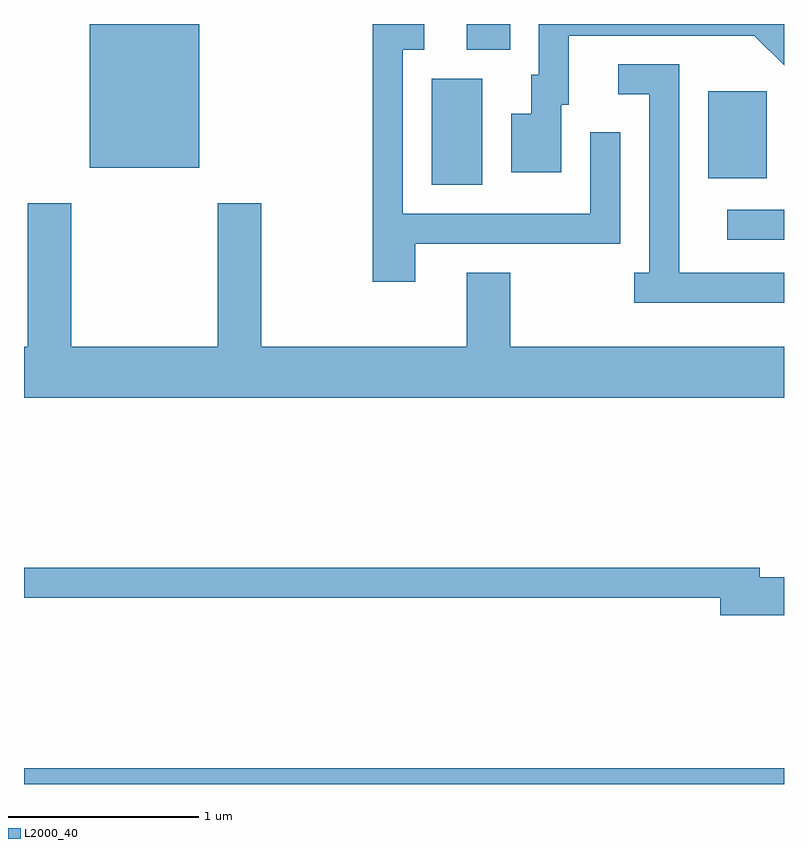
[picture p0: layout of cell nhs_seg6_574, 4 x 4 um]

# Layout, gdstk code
import gdstk
lib = gdstk.Library(unit=1e-6, precision=1e-09)
def R(c, l, rs):  # rectangles x0, y0, x1, y1
    for r in rs: c.add(gdstk.rectangle(r[:2], r[2:], *l))
def P(c, l, *ps):  # polygons
    for p in ps: c.add(gdstk.Polygon(p, *l))
L2000_40 = (2000, 40)

nhs_seg6_574 = lib.new_cell('nhs_seg6_574')
R(nhs_seg6_574, L2000_40, [(201.611,1610.162,205.611,1610.244), (205.313,1613.026,205.611,1613.184), (203.756,1613.316,204.024,1613.874), (205.211,1613.351,205.519,1613.809), (201.956,1613.406,202.534,1614.162), (203.941,1614.026,204.169,1614.162)])
P(nhs_seg6_574, L2000_40, [(203.669,1613.006),(204.749,1613.006),(204.749,1613.593),(204.591,1613.593),(204.591,1613.164),(203.604,1613.164),(203.604,1614.026),(203.718,1614.026),(203.718,1614.162),(203.446,1614.162),(203.446,1612.806),(203.669,1612.806)],
  [(204.439,1613.736),(204.479,1613.736),(204.479,1614.101),(205.454,1614.101),(205.611,1613.944),(205.611,1614.162),(204.321,1614.162),(204.321,1613.894),(204.281,1613.894),(204.281,1613.689),(204.176,1613.689),(204.176,1613.381),(204.439,1613.381)],
  [(205.611,1612.854),(205.059,1612.854),(205.059,1613.949),(204.738,1613.949),(204.738,1613.791),(204.901,1613.791),(204.901,1612.854),(204.823,1612.854),(204.823,1612.696),(205.611,1612.696)],
  [(205.611,1612.464),(204.169,1612.464),(204.169,1612.854),(203.941,1612.854),(203.941,1612.464),(202.859,1612.464),(202.859,1613.219),(202.631,1613.219),(202.631,1612.464),(201.859,1612.464),(201.859,1613.219),(201.631,1613.219),(201.631,1612.464),(201.611,1612.464),(201.611,1612.196),(205.611,1612.196)],
  [(205.611,1611.249),(205.484,1611.249),(205.484,1611.299),(201.611,1611.299),(201.611,1611.141),(205.276,1611.141),(205.276,1611.051),(205.611,1611.051)])

lib.write_gds('nhs_seg6_574.gds')
